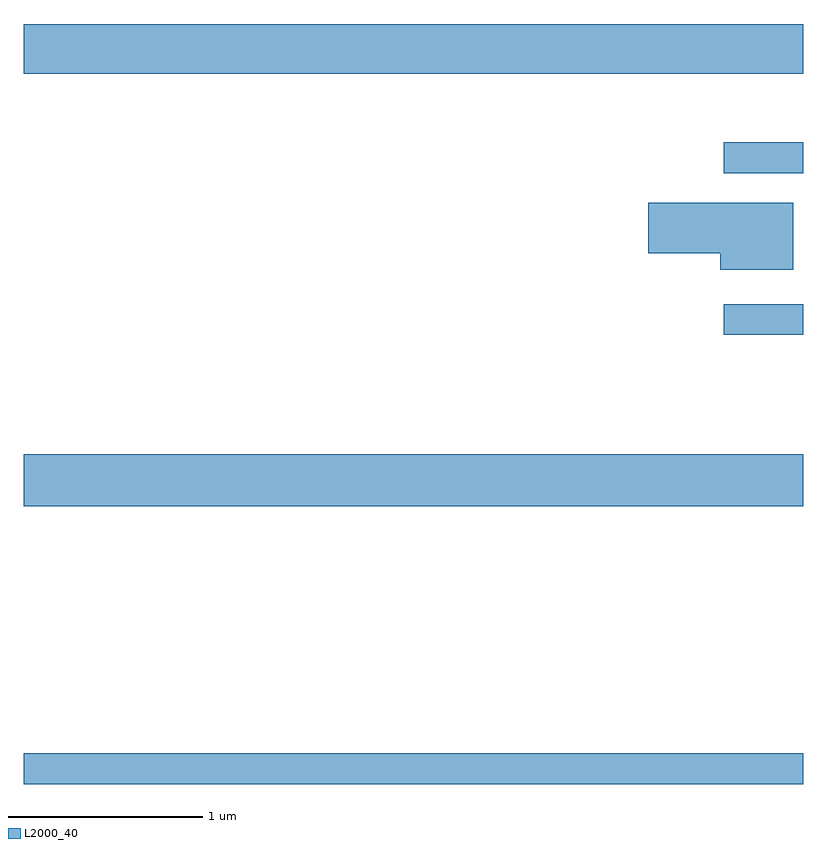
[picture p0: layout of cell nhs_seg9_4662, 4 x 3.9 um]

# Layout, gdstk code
import gdstk
lib = gdstk.Library(unit=1e-6, precision=1e-09)
def R(c, l, rs):  # rectangles x0, y0, x1, y1
    for r in rs: c.add(gdstk.rectangle(r[:2], r[2:], *l))
def P(c, l, *ps):  # polygons
    for p in ps: c.add(gdstk.Polygon(p, *l))
L2000_40 = (2000, 40)

nhs_seg9_4662 = lib.new_cell('nhs_seg9_4662')
R(nhs_seg9_4662, L2000_40, [(321.611,2072.531,325.611,2072.689), (321.611,2073.956,325.611,2074.224), (325.203,2074.836,325.611,2074.994), (325.203,2075.666,325.611,2075.824), (321.611,2076.176,325.611,2076.432)])
P(nhs_seg9_4662, L2000_40, [(325.559,2075.514),(324.816,2075.514),(324.816,2075.256),(325.186,2075.256),(325.186,2075.171),(325.559,2075.171)])

lib.write_gds('nhs_seg9_4662.gds')
